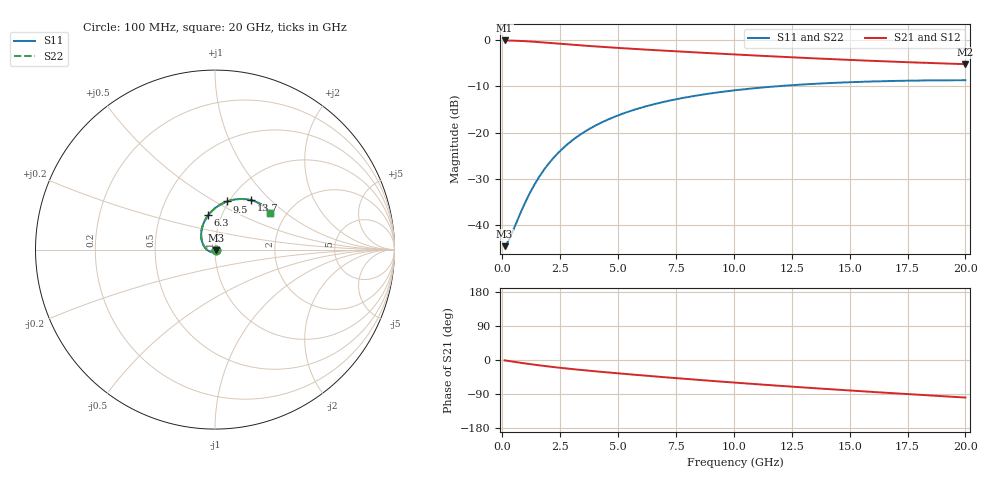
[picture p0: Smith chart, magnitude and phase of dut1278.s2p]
! Touchstone file exported from HFSS 2024.1.0
!  File:  C:/UserFiles/LocalFiles/RDL_TSV_Batchsim/temp_RDL_TSV_1278_1780276469.aedt
!  Generated:  09:33:14 AM Jun  1, 2026
!  Design:  RDL_TSV
!  Project:  temp_RDL_TSV_1278_1780276469
!  Setup:  Setup1
!  Solution:  Sweep
! Variables:
!  dtsv = 8.25um
!  hbump = 3um
!  htsv = 76.33um
!  ldown = 150.77um
!  lrdl = 150.6um
!  p = 40
!  p1 = 48.25um
!  rhole = 10um
!  subl = 1054.71um
!  t = 450um
!  tdown = 4.08um
!  trdl = 4.96um
!  viad = 10um
!  wdown = 18.09um
!  wrdl = 18um
!  xbump = 18um
# GHz S MA R 50.000000
! Terminal data exported
! Port[1] = TM1_1_T1
! Port[2] = TM1_4_T1
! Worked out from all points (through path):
!   200 points, 100 MHz to 20 GHz, reference 50 ohm
!   highest |S21| = -0.05 dB at 100 MHz (marker M1); lowest = -5.2 dB at 20 GHz (marker M2)
!   group delay of S21, straight-line fit = 13 ps
!   lowest |S11| = -44.5 dB at 100 MHz (marker M3), VSWR 1.01, Z = 50.6 - j0.184 ohm
!   |S11| at or under -10 dB: start of sweep to 11.75 GHz
!   |S22| runs from -44.5 to -8.7 dB; largest |S21 - S12| = 7.2e-15
!   S11 on the Smith chart (normalised r, x): 100 MHz: 1.01, -0.00; 6.3 GHz: 0.86, +0.35; 9.5 GHz: 0.98, +0.57; 13.7 GHz: 1.23, +0.77; 20 GHz: 1.66, +0.78
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0.1  0.005943 -17.8  0.9939 -1.0  0.9939 -1.0  0.005943 -17.8
! Gamma 0 0 0 0
! Port Impedance 50 0 50 0
0.2  0.00638 -35.1  0.9932 -1.9  0.9932 -1.9  0.006381 -35.1
0.3  0.007079 -51.4  0.992 -2.9  0.992 -2.9  0.00708 -51.4
0.8  0.01384 -112.6  0.9818 -7.4  0.9818 -7.4  0.01384 -112.5
1.1  0.02013 -136.4  0.9724 -10.0  0.9724 -10.0  0.02013 -136.4
1.4  0.02781 -154.5  0.9614 -12.5  0.9614 -12.5  0.02781 -154.5
1.7  0.03662 -169.0  0.9492 -14.9  0.9492 -14.9  0.03661 -169.0
2.1  0.04965 175.5  0.9323 -17.8  0.9323 -17.8  0.04964 175.5
2.5  0.06366 162.9  0.9153 -20.6  0.9153 -20.6  0.06364 162.9
3  0.08189 150.1  0.8948 -23.8  0.8948 -23.8  0.08187 150.1
3.5  0.1004 139.4  0.8756 -26.8  0.8756 -26.8  0.1003 139.5
4.1  0.1223 128.8  0.8543 -30.3  0.8543 -30.3  0.1223 128.8
4.8  0.1471 118.4  0.8316 -34.1  0.8316 -34.1  0.147 118.4
6.3  0.1958 101.0  0.7889 -41.9  0.7889 -41.9  0.1957 101.0
6.8  0.2105 96.2  0.7759 -44.4  0.7759 -44.4  0.2105 96.2
8.1  0.2452 85.4  0.7442 -50.7  0.7442 -50.7  0.2452 85.4
9.5  0.2769 75.7  0.7128 -57.3  0.7128 -57.3  0.2768 75.7
10.1  0.2887 72.0  0.7001 -60.0  0.7001 -60.0  0.2886 72.1
13.4  0.337 55.4  0.6379 -74.0  0.6379 -74.0  0.3369 55.4
13.7  0.3402 54.2  0.6329 -75.3  0.6329 -75.3  0.3401 54.2
16.7  0.362 43.0  0.5886 -87.0  0.5886 -87.0  0.3618 43.0
20  0.3694 33.5  0.5512 -99.1  0.5512 -99.1  0.3692 33.5
